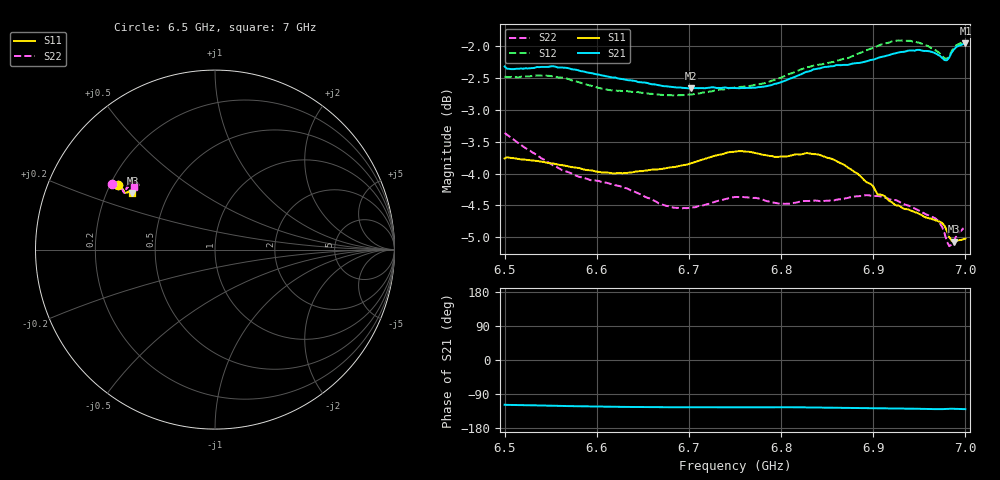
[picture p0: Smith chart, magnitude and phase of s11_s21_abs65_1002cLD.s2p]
! MS46122B
! 1919307/90821646
! 6/13/2022 12:18:41 PM
! C:\USERS\PC_\DESKTOP\CARACTERIZACION\MEDICIONES\BANCHA ESTRECHA\65_7GHZ\S11_S21_ABS65_1002CL.S2P
! CHANNEL.1
! TR.MEASUREMENT
! CORRECTED.DATA
# GHZ S RI R 50.0
! FREQ.GHZ  S11RE  S11IM  S21RE  S21IM  S12RE  S12IM  S22RE  S22IM
!; PortSelection: Port_12
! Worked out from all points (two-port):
!   201 points, 6.5 GHz to 7 GHz, reference 50 ohm
!   highest |S21| = -1.95 dB at 7 GHz (marker M1); lowest = -2.7 dB at 6.702 GHz (marker M2)
!   |S21| within 3 dB of the highest: start of sweep to end of sweep
!   lowest |S11| = -5.1 dB at 6.987 GHz (marker M3), VSWR 3.53, Z = 15.4 + j14.2 ohm
!   |S11| at or under -10 dB: nowhere
!   |S22| runs from -5.1 to -3.4 dB; largest |S21 - S12| = 0.022
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6.5  -0.5401 0.3591  -0.3595 -0.6762  -0.3626 -0.6585  -0.5713 0.3673
6.51  -0.5428 0.3554  -0.3674 -0.6677  -0.3655 -0.6563  -0.5667 0.3591
6.5375  -0.5398 0.3532  -0.3821 -0.6627  -0.3779 -0.6521  -0.553 0.3426
6.585  -0.5302 0.3512  -0.4065 -0.641  -0.3957 -0.6284  -0.5272 0.3382
6.625  -0.5303 0.3433  -0.4155 -0.6232  -0.3981 -0.6155  -0.5173 0.336
6.6675  -0.5354 0.3433  -0.419 -0.6103  -0.3999 -0.6081  -0.5067 0.3171
6.7025  -0.5359 0.3551  -0.4181 -0.6058  -0.3986 -0.609  -0.4985 0.3214
6.75  -0.5439 0.3677  -0.423 -0.6031  -0.4056 -0.6153  -0.4902 0.3542
6.7725  -0.5472 0.3595  -0.4218 -0.6045  -0.4096 -0.6176  -0.4882 0.3555
6.805  -0.553 0.3431  -0.4245 -0.6143  -0.4164 -0.6277  -0.487 0.346
6.835  -0.5508 0.3519  -0.4392 -0.6225  -0.4341 -0.6322  -0.4785 0.3635
6.855  -0.54 0.3583  -0.4499 -0.6202  -0.4424 -0.6326  -0.4679 0.3772
6.87  -0.5316 0.3562  -0.4551 -0.6186  -0.4485 -0.6348  -0.4641 0.3856
6.89  -0.5194 0.3453  -0.462 -0.6187  -0.4621 -0.6374  -0.4615 0.3936
6.9175  -0.5066 0.3227  -0.4752 -0.6209  -0.4842 -0.6366  -0.4588 0.3905
6.945  -0.496 0.3167  -0.4917 -0.6158  -0.5061 -0.6212  -0.4537 0.3809
6.965  -0.4838 0.3212  -0.4998 -0.6062  -0.5096 -0.6049  -0.4463 0.3752
6.975  -0.4748 0.3278  -0.4961 -0.5987  -0.5031 -0.5962  -0.4348 0.3725
6.98  -0.4642 0.3283  -0.4882 -0.6013  -0.4939 -0.5992  -0.4257 0.3606
6.985  -0.459 0.3191  -0.4902 -0.6135  -0.4955 -0.6115  -0.4343 0.3454
6.9875  -0.4598 0.3161  -0.4948 -0.6155  -0.5002 -0.6141  -0.4403 0.3436
7  -0.4647 0.3143  -0.5103 -0.6145  -0.5159 -0.6119  -0.4523 0.3512
